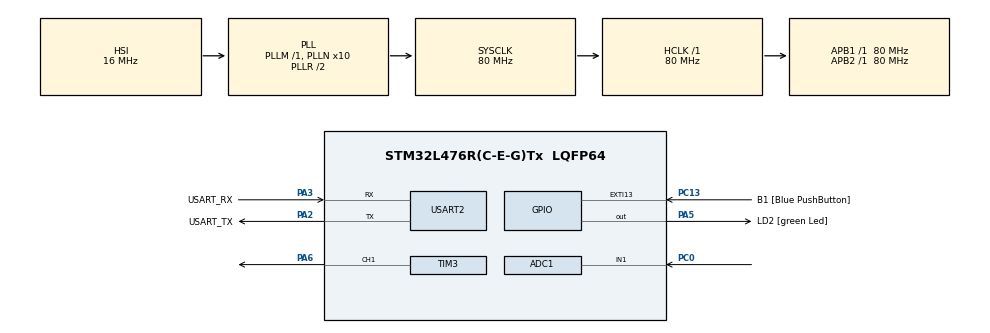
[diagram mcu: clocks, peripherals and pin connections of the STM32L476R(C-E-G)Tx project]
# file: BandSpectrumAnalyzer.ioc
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ADC1.Channel-4\#ChannelRegularConversion=ADC_CHANNEL_1
ADC1.ClockPrescaler=ADC_CLOCK_ASYNC_DIV1
ADC1.ContinuousConvMode=ENABLE
ADC1.DMAContinuousRequests=ENABLE
ADC1.ExternalTrigConv=ADC_EXTERNALTRIG_T1_TRGO
ADC1.NbrOfConversionFlag=1
ADC1.OffsetNumber-4\#ChannelRegularConversion=ADC_OFFSET_NONE
ADC1.Rank-4\#ChannelRegularConversion=1
ADC1.SamplingTime-4\#ChannelRegularConversion=ADC_SAMPLETIME_640CYCLES_5
ADC1.master=1
Dma.ADC1.0.Direction=DMA_PERIPH_TO_MEMORY
Dma.ADC1.0.Instance=DMA1_Channel1
Dma.ADC1.0.MemDataAlignment=DMA_MDATAALIGN_HALFWORD
Dma.ADC1.0.MemInc=DMA_MINC_ENABLE
Dma.ADC1.0.Mode=DMA_CIRCULAR
Dma.ADC1.0.PeriphDataAlignment=DMA_PDATAALIGN_HALFWORD
Dma.ADC1.0.PeriphInc=DMA_PINC_DISABLE
Dma.ADC1.0.Priority=DMA_PRIORITY_LOW
Dma.Request0=ADC1
Dma.Request1=TIM3_CH1/TRIG
Dma.TIM3_CH1/TRIG.1.Direction=DMA_MEMORY_TO_PERIPH
Dma.TIM3_CH1/TRIG.1.Instance=DMA1_Channel6
Dma.TIM3_CH1/TRIG.1.MemDataAlignment=DMA_MDATAALIGN_BYTE
Dma.TIM3_CH1/TRIG.1.MemInc=DMA_MINC_ENABLE
Dma.TIM3_CH1/TRIG.1.Mode=DMA_NORMAL
Dma.TIM3_CH1/TRIG.1.PeriphDataAlignment=DMA_PDATAALIGN_HALFWORD
Dma.TIM3_CH1/TRIG.1.PeriphInc=DMA_PINC_DISABLE
Dma.TIM3_CH1/TRIG.1.Priority=DMA_PRIORITY_LOW
Mcu.Family=STM32L4
Mcu.Name=STM32L476R(C-E-G)Tx
Mcu.Package=LQFP64
NVIC.ADC1_2_IRQn=true\:0\:0\:false\:false\:true\:true\:true\:true
NVIC.DMA1_Channel1_IRQn=true\:0\:0\:false\:false\:true\:false\:true\:true
NVIC.DMA1_Channel6_IRQn=true\:0\:0\:false\:false\:true\:false\:true\:true
NVIC.PriorityGroup=NVIC_PRIORITYGROUP_4
PA13\ (JTMS-SWDIO).GPIO_Label=TMS
PA13\ (JTMS-SWDIO).Mode=Serial_Wire
PA13\ (JTMS-SWDIO).Signal=SYS_JTMS-SWDIO
PA14\ (JTCK-SWCLK).GPIO_Label=TCK
PA14\ (JTCK-SWCLK).Mode=Serial_Wire
PA14\ (JTCK-SWCLK).Signal=SYS_JTCK-SWCLK
PA2.GPIO_Label=USART_TX
PA2.GPIO_Mode=GPIO_MODE_AF_PP
PA2.GPIO_PuPd=GPIO_NOPULL
PA2.GPIO_Speed=GPIO_SPEED_FREQ_VERY_HIGH
PA2.Mode=Asynchronous
PA2.Signal=USART2_TX
PA3.GPIO_Label=USART_RX
PA3.GPIO_Mode=GPIO_MODE_AF_PP
PA3.GPIO_PuPd=GPIO_NOPULL
PA3.GPIO_Speed=GPIO_SPEED_FREQ_VERY_HIGH
PA3.Mode=Asynchronous
PA3.Signal=USART2_RX
PA5.GPIO_Label=LD2 [green Led]
PA5.GPIO_ModeDefaultOutputPP=GPIO_MODE_OUTPUT_PP
PA5.GPIO_PuPd=GPIO_NOPULL
PA5.GPIO_Speed=GPIO_SPEED_FREQ_LOW
PA5.Signal=GPIO_Output
PA6.Signal=S_TIM3_CH1
PB3\ (JTDO-TRACESWO).GPIO_Label=SWO
PB3\ (JTDO-TRACESWO).Signal=SYS_JTDO-SWO
PC0.Signal=ADCx_IN1
PC13.GPIO_Label=B1 [Blue PushButton]
PC13.GPIO_ModeDefaultEXTI=GPIO_MODE_IT_FALLING
PC13.GPIO_PuPd=GPIO_NOPULL
PC13.Signal=GPXTI13
PC14-OSC32_IN\ (PC14).Mode=LSE-External-Oscillator
PC14-OSC32_IN\ (PC14).Signal=RCC_OSC32_IN
PC15-OSC32_OUT\ (PC15).Mode=LSE-External-Oscillator
PC15-OSC32_OUT\ (PC15).Signal=RCC_OSC32_OUT
PH0-OSC_IN\ (PH0).Signal=RCC_OSC_IN
PH1-OSC_OUT\ (PH1).Signal=RCC_OSC_OUT
ProjectManager.HeapSize=0x200
ProjectManager.StackSize=0x400
ProjectManager.TargetToolchain=STM32CubeIDE
RCC.ADCFreq_Value=64000000
RCC.AHBFreq_Value=80000000
RCC.APB1Freq_Value=80000000
RCC.APB1TimFreq_Value=80000000
RCC.APB2Freq_Value=80000000
RCC.APB2TimFreq_Value=80000000
RCC.CortexFreq_Value=80000000
RCC.HCLKFreq_Value=80000000
RCC.HSE_VALUE=8000000
RCC.HSI_VALUE=16000000
RCC.MSI_VALUE=4000000
RCC.PLLN=10
RCC.PLLSourceVirtual=RCC_PLLSOURCE_HSI
RCC.SYSCLKFreq_VALUE=80000000
RCC.SYSCLKSource=RCC_SYSCLKSOURCE_PLLCLK
RCC.USBFreq_Value=64000000
RCC.VCOOutputFreq_Value=160000000
SH.ADCx_IN1.0=ADC1_IN1,IN1-Single-Ended
SH.S_TIM3_CH1.0=TIM3_CH1,PWM Generation1 CH1
TIM1.Channel-PWM\ Generation1\ No\ Output=TIM_CHANNEL_1
TIM1.Period=2000
TIM1.TIM_MasterOutputTrigger=TIM_TRGO_UPDATE
TIM3.Channel-PWM\ Generation1\ CH1=TIM_CHANNEL_1
TIM3.Period=99
USART2.VirtualMode-Asynchronous=VM_ASYNC
VP_TIM1_VS_no_output1.Mode=PWM Generation1 No Output
VP_TIM3_VS_ClockSourceINT.Mode=Internal
board=NUCLEO-L476RG

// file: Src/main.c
/* USER CODE BEGIN Header */
/**
  ******************************************************************************
  * @file           : main.c
  * @brief          : Main program body
  ******************************************************************************
  * @attention
  *
  * Copyright (c) 2024 STMicroelectronics.
  * All rights reserved.
  *
  * This software is licensed under terms that can be found in the LICENSE file
  * in the root directory of this software component.
  * If no LICENSE file comes with this software, it is provided AS-IS.
  *
  ******************************************************************************
  */
/* USER CODE END Header */
#include "main.h"

/* USER CODE BEGIN Includes */
#include <stdio.h>
#include <string.h>
#include <math.h>

#include "led.h"

#define ARM_MATH_CM4
#include "arm_math.h"
/* USER CODE END Includes */

/* USER CODE BEGIN PD */

/* FFT buffer size must be a power of 4!--------------------------------------*/
#define FFT_BUFFER_SIZE 1024

#define numofstripes 11
/* USER CODE END PD */

/*-------------------TYPEDEF -------------------------------------------------*/

ADC_HandleTypeDef hadc1;
DMA_HandleTypeDef hdma_adc1;
TIM_HandleTypeDef htim1;
TIM_HandleTypeDef htim3;
DMA_HandleTypeDef hdma_tim3_ch1_trig;
UART_HandleTypeDef huart2;

/* USER CODE BEGIN PV */

/*-------------------ADC VARIABLES--------------------------------------------*/
uint16_t adc_buf[FFT_BUFFER_SIZE];

/*-------------------FFT VARIABLES--------------------------------------------*/
arm_cfft_radix4_instance_f32 fftInstance;
float32_t fftBuffer[FFT_BUFFER_SIZE*2];
float32_t ffttest[FFT_BUFFER_SIZE];
float32_t fftOp[FFT_BUFFER_SIZE];
uint8_t fftFlag = 0;

/*-------------------OPERATION VARIABLES -------------------------------------*/
float32_t ampofstripes [numofstripes];
float32_t oldampofstripes [numofstripes];

/* USER CODE END PV */

void SystemClock_Config(void);
static void MX_GPIO_Init(void);
static void MX_DMA_Init(void);
static void MX_USART2_UART_Init(void);
static void MX_ADC1_Init(void);
static void MX_TIM1_Init(void);
static void MX_TIM3_Init(void);

/* USER CODE BEGIN 0 */

/*Function used for proper display by using formula: printf (overwrite)-------*/
int __io_putchar(int ch)
{
    if (ch == '\n') {
        uint8_t ch2 = '\r';
        HAL_UART_Transmit(&huart2, &ch2, 1, HAL_MAX_DELAY);
    }

    HAL_UART_Transmit(&huart2, (uint8_t*)&ch, 1, HAL_MAX_DELAY);
    return 1;
}

/*Function search max value of buffer and return it----------------------------*/
float32_t maxVal(float32_t* buffer, uint32_t bufferSize)
{
	float32_t maxval = buffer[0];

	for(uint32_t i = 1; i< bufferSize; i++)
	{
		if (buffer[i]> maxval)
		{
			maxval = buffer[i];
		}
	}
	return maxval;
}

/* USER CODE END 0 */

int main(void)
{

  /* MCU Configuration--------------------------------------------------------*/

  /* Reset of all peripherals, Initializes the Flash interface and the Systick. */
  HAL_Init();

  /* Configure the system clock */
  SystemClock_Config();

  /* USER CODE BEGIN SysInit */

  /* Initializing algorithm which counts FFT of buffer of size 4^x, faster------*/
  arm_cfft_radix4_init_f32(&fftInstance, FFT_BUFFER_SIZE,0,1);

  /* USER CODE END SysInit */

  /* Initialize all configured peripherals */
  MX_GPIO_Init();
  MX_DMA_Init();
  MX_USART2_UART_Init();
  MX_ADC1_Init();
  MX_TIM1_Init();
  MX_TIM3_Init();
  /* USER CODE BEGIN 2 */

  /* Initializing of frequency ADC about 49kHz  and starting TIMER 3 to carry LED*/
  HAL_TIM_Base_Start(&htim3);
  HAL_ADC_Start_DMA(&hadc1, (uint32_t *)adc_buf, FFT_BUFFER_SIZE);
  HAL_TIM_PWM_Start(&htim1, TIM_CHANNEL_1);

  /* First init of LED matrix and clearing buffers and set Bool'e matrix to false */
  clearmatrix();
  clearbuf();
  HAL_TIM_PWM_Start_DMA(&htim3, TIM_CHANNEL_1, &ledbuf, sizeof(ledbuf));
  clearmatrix();
  clearbuf();

  /* Clearing buffer of old values which carry dropping stripes down              */
  for (int i = 0; i < numofstripes; i++)
  {
	  oldampofstripes[i] = 0;
  }

  /* USER CODE END 2 */
  /* Infinite loop */
  /* USER CODE BEGIN WHILE */

  while (1)
  {
	  if (fftFlag)
	  	  {
		  	  uint16_t tempIdx = 0;
		  	  for (uint16_t i = 0; i < FFT_BUFFER_SIZE; i += 2)
		  	  {
		  		  // Experiment to count values in logarithmic way, because eyes and ears work that way.

		  		  	  //fftOp[tempIdx] = 0.01*log10(sqrt((fftBuffer[i]*fftBuffer[i])+(fftBuffer[i+1]*fftBuffer[i+1])));

		  		  // Proper counting absolute value of FFT solutions : ABS = SQRT(RE^2 + IM^2)
		  		  fftOp[tempIdx] = sqrt((fftBuffer[i]*fftBuffer[i])+(fftBuffer[i+1]*fftBuffer[i+1]));
		  		  tempIdx++;

		  	  }

		  	  // Setting all stripes to specific frequencies :

		  	  ampofstripes[0] = fftOp[1];		// 48	Hz
			  ampofstripes[1] = fftOp[3];  		// 144	Hz
			  ampofstripes[2] = fftOp[5];  		// 240	Hz
			  ampofstripes[3] = fftOp[10]; 		// 480	Hz
			  ampofstripes[4] = fftOp[15];		// 720	Hz
			  ampofstripes[5] = fftOp[20];		// 960	Hz
			  ampofstripes[6] = fftOp[25];		// 1200	Hz
			  ampofstripes[7] = fftOp[35];		// 1680	Hz
			  ampofstripes[8] = fftOp[50];		// 2400	Hz
			  ampofstripes[9] = fftOp[100];		// 4800	Hz
			  ampofstripes[10] = fftOp[200];	// 9600	Hz

			  // Scaling values given to maximize the stripes compared to audio volume
		  	  float32_t maxval = maxVal(ampofstripes, numofstripes);
		  	  for (uint8_t i = 0; i < numofstripes; i++)
		  	  {
		  		  ampofstripes[i] = ampofstripes[i]/maxval * 8;
		  	  }

		  	  ampofstripes[0] = ampofstripes[0]/2;

		  	  // Printing solutions to LED matrix
		  	  for (uint8_t i = 0; i < numofstripes; i++)
		  	  {
		  		  if (ampofstripes [i] >= oldampofstripes [i])
		  		  {
			  		  setstripe(11-i, floor(ampofstripes[i]));
			  		  oldampofstripes [i] = ampofstripes [i];
		  		  }
		  		  else
		  		  {
		  			  if(oldampofstripes[i] > 0)
		  				  oldampofstripes[i]--;
		  			  setstripe(11-i, floor(oldampofstripes[i]));
		  		  }
		  	  }

		  	  // Sending PWM data to timers and output
		  	  HAL_TIM_PWM_Start_DMA(&htim3, TIM_CHANNEL_1, &ledbuf, sizeof(ledbuf));
		  	  HAL_Delay(50);

		  	  // Clearing
		  	  clearmatrix();
		  	  clearbuf();
	  		  fftFlag = 0;

	  	  }
	  	  HAL_Delay(10);
    /* USER CODE END WHILE */

  }
}

void SystemClock_Config(void)
{
  RCC_OscInitTypeDef RCC_OscInitStruct = {0};
  RCC_ClkInitTypeDef RCC_ClkInitStruct = {0};

  /** Configure the main internal regulator output voltage
  */
  if (HAL_PWREx_ControlVoltageScaling(PWR_REGULATOR_VOLTAGE_SCALE1) != HAL_OK)
  {
    Error_Handler();
  }

  /** Initializes the RCC Oscillators according to the specified parameters
  * in the RCC_OscInitTypeDef structure.
  */
  RCC_OscInitStruct.OscillatorType = RCC_OSCILLATORTYPE_HSI;
  RCC_OscInitStruct.HSIState = RCC_HSI_ON;
  RCC_OscInitStruct.HSICalibrationValue = RCC_HSICALIBRATION_DEFAULT;
  RCC_OscInitStruct.PLL.PLLState = RCC_PLL_ON;
  RCC_OscInitStruct.PLL.PLLSource = RCC_PLLSOURCE_HSI;
  RCC_OscInitStruct.PLL.PLLM = 1;
  RCC_OscInitStruct.PLL.PLLN = 10;
  RCC_OscInitStruct.PLL.PLLP = RCC_PLLP_DIV7;
  RCC_OscInitStruct.PLL.PLLQ = RCC_PLLQ_DIV2;
  RCC_OscInitStruct.PLL.PLLR = RCC_PLLR_DIV2;
  if (HAL_RCC_OscConfig(&RCC_OscInitStruct) != HAL_OK)
  {
    Error_Handler();
  }

  /** Initializes the CPU, AHB and APB buses clocks
  */
  RCC_ClkInitStruct.ClockType = RCC_CLOCKTYPE_HCLK|RCC_CLOCKTYPE_SYSCLK
                              |RCC_CLOCKTYPE_PCLK1|RCC_CLOCKTYPE_PCLK2;
  RCC_ClkInitStruct.SYSCLKSource = RCC_SYSCLKSOURCE_PLLCLK;
  RCC_ClkInitStruct.AHBCLKDivider = RCC_SYSCLK_DIV1;
  RCC_ClkInitStruct.APB1CLKDivider = RCC_HCLK_DIV1;
  RCC_ClkInitStruct.APB2CLKDivider = RCC_HCLK_DIV1;

  if (HAL_RCC_ClockConfig(&RCC_ClkInitStruct, FLASH_LATENCY_4) != HAL_OK)
  {
    Error_Handler();
  }
}

static void MX_ADC1_Init(void)
{

  ADC_MultiModeTypeDef multimode = {0};
  ADC_ChannelConfTypeDef sConfig = {0};

  /** Common config
  */
  hadc1.Instance = ADC1;
  hadc1.Init.ClockPrescaler = ADC_CLOCK_ASYNC_DIV1;
  hadc1.Init.Resolution = ADC_RESOLUTION_12B;
  hadc1.Init.DataAlign = ADC_DATAALIGN_RIGHT;
  hadc1.Init.ScanConvMode = ADC_SCAN_DISABLE;
  hadc1.Init.EOCSelection = ADC_EOC_SINGLE_CONV;
  hadc1.Init.LowPowerAutoWait = DISABLE;
  hadc1.Init.ContinuousConvMode = ENABLE;
  hadc1.Init.NbrOfConversion = 1;
  hadc1.Init.DiscontinuousConvMode = DISABLE;
  hadc1.Init.ExternalTrigConv = ADC_EXTERNALTRIG_T1_TRGO;
  hadc1.Init.ExternalTrigConvEdge = ADC_EXTERNALTRIGCONVEDGE_RISING;
  hadc1.Init.DMAContinuousRequests = ENABLE;
  hadc1.Init.Overrun = ADC_OVR_DATA_PRESERVED;
  hadc1.Init.OversamplingMode = DISABLE;
  if (HAL_ADC_Init(&hadc1) != HAL_OK)
  {
    Error_Handler();
  }

  /** Configure the ADC multi-mode
  */
  multimode.Mode = ADC_MODE_INDEPENDENT;
  if (HAL_ADCEx_MultiModeConfigChannel(&hadc1, &multimode) != HAL_OK)
  {
    Error_Handler();
  }

  /** Configure Regular Channel
  */
  sConfig.Channel = ADC_CHANNEL_1;
  sConfig.Rank = ADC_REGULAR_RANK_1;
  sConfig.SamplingTime = ADC_SAMPLETIME_640CYCLES_5;
  sConfig.SingleDiff = ADC_SINGLE_ENDED;
  sConfig.OffsetNumber = ADC_OFFSET_NONE;
  sConfig.Offset = 0;
  if (HAL_ADC_ConfigChannel(&hadc1, &sConfig) != HAL_OK)
  {
    Error_Handler();
  }

}

static void MX_TIM1_Init(void)
{

  TIM_MasterConfigTypeDef sMasterConfig = {0};
  TIM_OC_InitTypeDef sConfigOC = {0};
  TIM_BreakDeadTimeConfigTypeDef sBreakDeadTimeConfig = {0};

  htim1.Instance = TIM1;
  htim1.Init.Prescaler = 0;
  htim1.Init.CounterMode = TIM_COUNTERMODE_UP;
  htim1.Init.Period = 2000;
  htim1.Init.ClockDivision = TIM_CLOCKDIVISION_DIV1;
  htim1.Init.RepetitionCounter = 0;
  htim1.Init.AutoReloadPreload = TIM_AUTORELOAD_PRELOAD_DISABLE;
  if (HAL_TIM_PWM_Init(&htim1) != HAL_OK)
  {
    Error_Handler();
  }
  sMasterConfig.MasterOutputTrigger = TIM_TRGO_UPDATE;
  sMasterConfig.MasterOutputTrigger2 = TIM_TRGO2_RESET;
  sMasterConfig.MasterSlaveMode = TIM_MASTERSLAVEMODE_DISABLE;
  if (HAL_TIMEx_MasterConfigSynchronization(&htim1, &sMasterConfig) != HAL_OK)
  {
    Error_Handler();
  }
  sConfigOC.OCMode = TIM_OCMODE_PWM1;
  sConfigOC.Pulse = 0;
  sConfigOC.OCPolarity = TIM_OCPOLARITY_HIGH;
  sConfigOC.OCNPolarity = TIM_OCNPOLARITY_HIGH;
  sConfigOC.OCFastMode = TIM_OCFAST_DISABLE;
  sConfigOC.OCIdleState = TIM_OCIDLESTATE_RESET;
  sConfigOC.OCNIdleState = TIM_OCNIDLESTATE_RESET;
  if (HAL_TIM_PWM_ConfigChannel(&htim1, &sConfigOC, TIM_CHANNEL_1) != HAL_OK)
  {
    Error_Handler();
  }
  sBreakDeadTimeConfig.OffStateRunMode = TIM_OSSR_DISABLE;
  sBreakDeadTimeConfig.OffStateIDLEMode = TIM_OSSI_DISABLE;
  sBreakDeadTimeConfig.LockLevel = TIM_LOCKLEVEL_OFF;
  sBreakDeadTimeConfig.DeadTime = 0;
  sBreakDeadTimeConfig.BreakState = TIM_BREAK_DISABLE;
  sBreakDeadTimeConfig.BreakPolarity = TIM_BREAKPOLARITY_HIGH;
  sBreakDeadTimeConfig.BreakFilter = 0;
  sBreakDeadTimeConfig.Break2State = TIM_BREAK2_DISABLE;
  sBreakDeadTimeConfig.Break2Polarity = TIM_BREAK2POLARITY_HIGH;
  sBreakDeadTimeConfig.Break2Filter = 0;
  sBreakDeadTimeConfig.AutomaticOutput = TIM_AUTOMATICOUTPUT_DISABLE;
  if (HAL_TIMEx_ConfigBreakDeadTime(&htim1, &sBreakDeadTimeConfig) != HAL_OK)
  {
    Error_Handler();
  }

}

static void MX_TIM3_Init(void)
{

  TIM_ClockConfigTypeDef sClockSourceConfig = {0};
  TIM_MasterConfigTypeDef sMasterConfig = {0};
  TIM_OC_InitTypeDef sConfigOC = {0};

  htim3.Instance = TIM3;
  htim3.Init.Prescaler = 0;
  htim3.Init.CounterMode = TIM_COUNTERMODE_UP;
  htim3.Init.Period = 99;
  htim3.Init.ClockDivision = TIM_CLOCKDIVISION_DIV1;
  htim3.Init.AutoReloadPreload = TIM_AUTORELOAD_PRELOAD_DISABLE;
  if (HAL_TIM_Base_Init(&htim3) != HAL_OK)
  {
    Error_Handler();
  }
  sClockSourceConfig.ClockSource = TIM_CLOCKSOURCE_INTERNAL;
  if (HAL_TIM_ConfigClockSource(&htim3, &sClockSourceConfig) != HAL_OK)
  {
    Error_Handler();
  }
  if (HAL_TIM_PWM_Init(&htim3) != HAL_OK)
  {
    Error_Handler();
  }
  sMasterConfig.MasterOutputTrigger = TIM_TRGO_RESET;
  sMasterConfig.MasterSlaveMode = TIM_MASTERSLAVEMODE_DISABLE;
  if (HAL_TIMEx_MasterConfigSynchronization(&htim3, &sMasterConfig) != HAL_OK)
  {
    Error_Handler();
  }
  sConfigOC.OCMode = TIM_OCMODE_PWM1;
  sConfigOC.Pulse = 0;
  sConfigOC.OCPolarity = TIM_OCPOLARITY_HIGH;
  sConfigOC.OCFastMode = TIM_OCFAST_DISABLE;
  if (HAL_TIM_PWM_ConfigChannel(&htim3, &sConfigOC, TIM_CHANNEL_1) != HAL_OK)
  {
    Error_Handler();
  }
  HAL_TIM_MspPostInit(&htim3);

}

static void MX_USART2_UART_Init(void)
{

  huart2.Instance = USART2;
  huart2.Init.BaudRate = 115200;
  huart2.Init.WordLength = UART_WORDLENGTH_8B;
  huart2.Init.StopBits = UART_STOPBITS_1;
  huart2.Init.Parity = UART_PARITY_NONE;
  huart2.Init.Mode = UART_MODE_TX_RX;
  huart2.Init.HwFlowCtl = UART_HWCONTROL_NONE;
  huart2.Init.OverSampling = UART_OVERSAMPLING_16;
  huart2.Init.OneBitSampling = UART_ONE_BIT_SAMPLE_DISABLE;
  huart2.AdvancedInit.AdvFeatureInit = UART_ADVFEATURE_NO_INIT;
  if (HAL_UART_Init(&huart2) != HAL_OK)
  {
    Error_Handler();
  }

}

static void MX_DMA_Init(void)
{

  /* DMA controller clock enable */
  __HAL_RCC_DMA1_CLK_ENABLE();

  /* DMA interrupt init */
  /* DMA1_Channel1_IRQn interrupt configuration */
  HAL_NVIC_SetPriority(DMA1_Channel1_IRQn, 0, 0);
  HAL_NVIC_EnableIRQ(DMA1_Channel1_IRQn);
  /* DMA1_Channel6_IRQn interrupt configuration */
  HAL_NVIC_SetPriority(DMA1_Channel6_IRQn, 0, 0);
  HAL_NVIC_EnableIRQ(DMA1_Channel6_IRQn);

}

static void MX_GPIO_Init(void)
{
  GPIO_InitTypeDef GPIO_InitStruct = {0};

  /* GPIO Ports Clock Enable */
  __HAL_RCC_GPIOC_CLK_ENABLE();
  __HAL_RCC_GPIOH_CLK_ENABLE();
  __HAL_RCC_GPIOA_CLK_ENABLE();
  __HAL_RCC_GPIOB_CLK_ENABLE();

  /*Configure GPIO pin Output Level */
  HAL_GPIO_WritePin(LD2_GPIO_Port, LD2_Pin, GPIO_PIN_RESET);

  /*Configure GPIO pin : B1_Pin */
  GPIO_InitStruct.Pin = B1_Pin;
  GPIO_InitStruct.Mode = GPIO_MODE_IT_FALLING;
  GPIO_InitStruct.Pull = GPIO_NOPULL;
  HAL_GPIO_Init(B1_GPIO_Port, &GPIO_InitStruct);

  /*Configure GPIO pin : LD2_Pin */
  GPIO_InitStruct.Pin = LD2_Pin;
  GPIO_InitStruct.Mode = GPIO_MODE_OUTPUT_PP;
  GPIO_InitStruct.Pull = GPIO_NOPULL;
  GPIO_InitStruct.Speed = GPIO_SPEED_FREQ_LOW;
  HAL_GPIO_Init(LD2_GPIO_Port, &GPIO_InitStruct);

}

/* USER CODE BEGIN 4 */
//first half filled
void HAL_ADC_ConvHalfCpltCallback(ADC_HandleTypeDef* hadc)
{
  HAL_GPIO_WritePin(LD2_GPIO_Port, LD2_Pin, GPIO_PIN_SET);
}
//full filled
void HAL_ADC_ConvCpltCallback(ADC_HandleTypeDef* hadc)
{
  HAL_GPIO_WritePin(LD2_GPIO_Port, LD2_Pin, GPIO_PIN_RESET);
  if (!fftFlag)
  {
	  ProcessFFT();
  }
}

// Counting FFT of signal after ADC fully filled through DMA
void ProcessFFT()
{

	  arm_cfft_radix4_init_f32(&fftInstance, FFT_BUFFER_SIZE,0,1);

	  // Preparing fftBuffer to take real and imag results
	  for(int i =0;i < FFT_BUFFER_SIZE; i++){
		  ffttest[i] = (float32_t)adc_buf[i] - 1950;
		  fftBuffer[i] = (float32_t)adc_buf[i] - 1950;
		  fftBuffer[i+FFT_BUFFER_SIZE] = 0;
	  }

	  arm_cfft_radix4_f32(&fftInstance, fftBuffer);

	  fftFlag = 1;
}

/* USER CODE END 4 */

void Error_Handler(void)
{
  __disable_irq();
  while (1)
  {
  }
}
